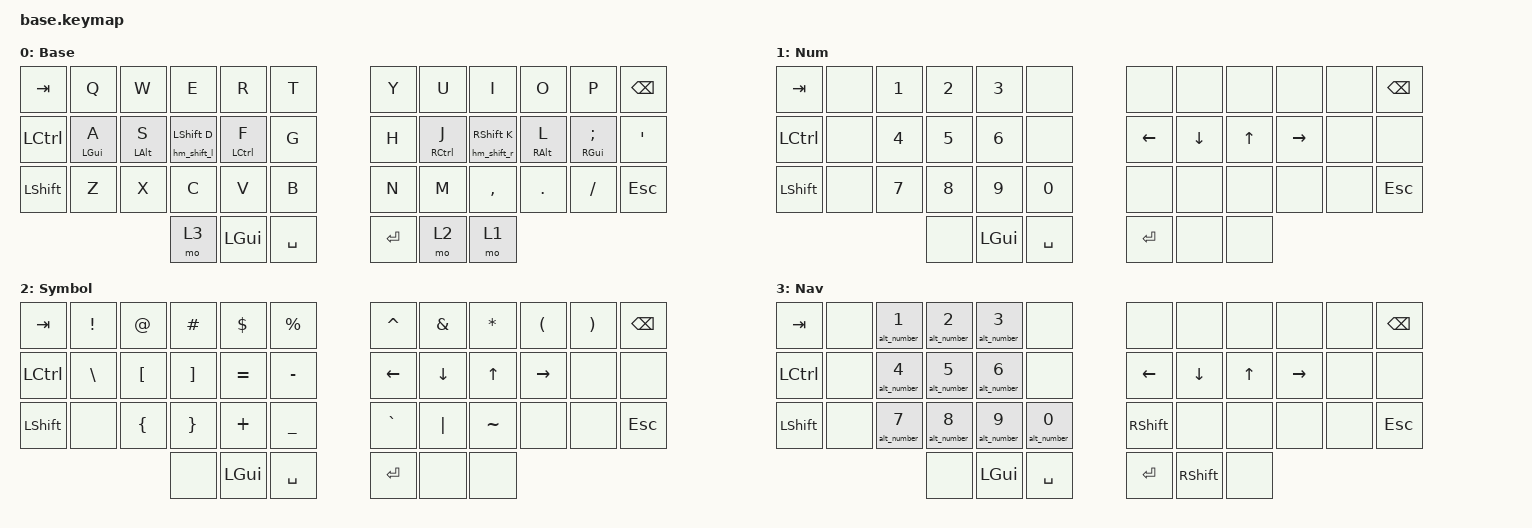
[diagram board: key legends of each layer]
/*
 * Copyright (c) 2020 The ZMK Contributors
 *
 * SPDX-License-Identifier: MIT
 */

// define layer numbers
#define BASE 0
#define NUM 1
#define SYM 2
#define NAV 3

// zmk includes
#include <behaviors.dtsi>
#include <dt-bindings/zmk/keys.h>
#include <dt-bindings/zmk/bt.h>

// personal includes
#include "includes/homerow_mods.dtsi"
#include "includes/nav_macros.dtsi"
#include "includes/nav_combos.dtsi"
#include "includes/nav_mod_morph.dtsi"

/ {
  keymap {
    compatible = "zmk,keymap";

    base_layer {
      display-name = "Base";
      bindings = <
// ╭────────────────────────┬────────────────────────┬────────────────────────┬────────────────────────┬────────────────────────┬────────────────────────╮    ╭────────────────────────┬────────────────────────┬────────────────────────┬───────────────────────┬────────────────────────┬────────────────────────╮
     &kp TAB                  &kp Q                    &kp W                    &kp E                    &kp R                    &kp T                         &kp Y                    &kp U                    &kp I                    &kp O                   &kp P                    &kp BSPC
// ├────────────────────────┼────────────────────────┼────────────────────────┼────────────────────────┼────────────────────────┼────────────────────────┤    ├────────────────────────┼────────────────────────┼────────────────────────┼───────────────────────┼────────────────────────┼────────────────────────┤
     &kp LCTRL                &hm_l LGUI A             &hm_l LALT S             &hm_shift_l LSHFT D      &hm_l LCTRL F            &kp G                         &kp H                    &hm_r RCTRL J            &hm_shift_r RSHFT K      &hm_r RALT L            &hm_r RGUI SEMI          &kp SQT
// ├────────────────────────┼────────────────────────┼────────────────────────┼────────────────────────┼────────────────────────┼────────────────────────┤    ├────────────────────────┼────────────────────────┼────────────────────────┼───────────────────────┼────────────────────────┼────────────────────────┤
     &kp LSHFT                &kp Z                    &kp X                    &kp C                    &kp V                    &kp B                         &kp N                    &kp M                    &kp COMMA                &kp DOT                 &kp FSLH                 &kp ESC
// ╰────────────────────────┴────────────────────────┴────────────────────────┴────────────────────────┼────────────────────────┼────────────────────────┤    ├────────────────────────┼────────────────────────┼────────────────────────┼───────────────────────┼────────────────────────┼────────────────────────╯
                                                                                &mo 3                    &kp LGUI                 &kp SPACE                     &kp RET                  &mo 2                    &mo 1
//                                                                            ╰────────────────────────┴────────────────────────┴────────────────────────╯    ╰────────────────────────┴────────────────────────┴────────────────────────╯
      >;
    };
    num_layer {
      display-name = "Num";
      bindings = <
// ╭────────────────────────┬────────────────────────┬────────────────────────┬────────────────────────┬────────────────────────┬────────────────────────╮    ╭────────────────────────┬────────────────────────┬────────────────────────┬───────────────────────┬────────────────────────┬────────────────────────╮
     &kp TAB                  &none                    &kp N1                   &kp N2                   &kp N3                   &none                         &none                    &none                    &none                    &none                   &none                    &kp BSPC
// ├────────────────────────┼────────────────────────┼────────────────────────┼────────────────────────┼────────────────────────┼────────────────────────┤    ├────────────────────────┼────────────────────────┼────────────────────────┼───────────────────────┼────────────────────────┼────────────────────────┤
     &kp LCTRL                &none                    &kp N4                   &kp N5                   &kp N6                   &none                         &kp LEFT                 &kp DOWN                 &kp UP                   &kp RIGHT               &none                    &none
// ├────────────────────────┼────────────────────────┼────────────────────────┼────────────────────────┼────────────────────────┼────────────────────────┤    ├────────────────────────┼────────────────────────┼────────────────────────┼───────────────────────┼────────────────────────┼────────────────────────┤
     &kp LSHFT                &none                    &kp N7                   &kp N8                   &kp N9                   &kp N0                        &none                    &none                    &none                    &none                   &none                    &kp ESC
// ╰────────────────────────┴────────────────────────┴────────────────────────┴────────────────────────┼────────────────────────┼────────────────────────┤    ├────────────────────────┼────────────────────────┼────────────────────────┼───────────────────────┼────────────────────────┼────────────────────────╯
                                                                                &none                    &kp LGUI                 &kp SPACE                     &kp RET                  &none                    &none
//                                                                            ╰────────────────────────┴────────────────────────┴────────────────────────╯    ╰────────────────────────┴────────────────────────┴────────────────────────╯
      >;
    };
    sym_layer {
      display-name = "Symbol";
      bindings = <
// ╭────────────────────────┬────────────────────────┬────────────────────────┬────────────────────────┬────────────────────────┬────────────────────────╮    ╭────────────────────────┬────────────────────────┬────────────────────────┬───────────────────────┬────────────────────────┬────────────────────────╮
     &kp TAB                  &kp EXCL                 &kp AT                   &kp HASH                 &kp DLLR                 &kp PRCNT                     &kp CARET                &kp AMPS                 &kp ASTRK                &kp LPAR                &kp RPAR                 &kp BSPC
// ├────────────────────────┼────────────────────────┼────────────────────────┼────────────────────────┼────────────────────────┼────────────────────────┤    ├────────────────────────┼────────────────────────┼────────────────────────┼───────────────────────┼────────────────────────┼────────────────────────┤
     &kp LCTRL                &kp BSLH                 &kp LBKT                 &kp RBKT                 &kp EQUAL                &kp MINUS                     &kp LEFT                 &kp DOWN                 &kp UP                   &kp RIGHT               &none                    &none
// ├────────────────────────┼────────────────────────┼────────────────────────┼────────────────────────┼────────────────────────┼────────────────────────┤    ├────────────────────────┼────────────────────────┼────────────────────────┼───────────────────────┼────────────────────────┼────────────────────────┤
     &kp LSHFT                &none                    &kp LBRC                 &kp RBRC                 &kp PLUS                 &kp UNDER                     &kp GRAVE                &kp PIPE                 &kp TILDE                &none                   &none                    &kp ESC
// ╰────────────────────────┴────────────────────────┴────────────────────────┴────────────────────────┼────────────────────────┼────────────────────────┤    ├────────────────────────┼────────────────────────┼────────────────────────┼───────────────────────┼────────────────────────┼────────────────────────╯
                                                                                &none                    &kp LGUI                 &kp SPACE                     &kp RET                  &none                    &none
//                                                                            ╰────────────────────────┴────────────────────────┴────────────────────────╯    ╰────────────────────────┴────────────────────────┴────────────────────────╯
      >;
    };
    nav_layer {
      display-name = "Nav";
      bindings = <
// ╭────────────────────────┬────────────────────────┬────────────────────────┬────────────────────────┬────────────────────────┬────────────────────────╮    ╭────────────────────────┬────────────────────────┬────────────────────────┬───────────────────────┬────────────────────────┬────────────────────────╮
     &kp TAB                  &none                    &alt_number N1           &alt_number N2           &alt_number N3           &none                         &none                    &none                    &none                    &none                   &none                    &kp BSPC
// ├────────────────────────┼────────────────────────┼────────────────────────┼────────────────────────┼────────────────────────┼────────────────────────┤    ├────────────────────────┼────────────────────────┼────────────────────────┼───────────────────────┼────────────────────────┼────────────────────────┤
     &kp LCTRL                &none                    &alt_number N4           &alt_number N5           &alt_number N6           &none                         &kp LEFT                 &kp DOWN                 &kp UP                   &kp RIGHT               &none                    &none
// ├────────────────────────┼────────────────────────┼────────────────────────┼────────────────────────┼────────────────────────┼────────────────────────┤    ├────────────────────────┼────────────────────────┼────────────────────────┼───────────────────────┼────────────────────────┼────────────────────────┤
     &kp LSHFT                &none                    &alt_number N7           &alt_number N8           &alt_number N9           &alt_number N0                &kp RSHFT                &none                    &none                    &none                   &none                    &kp ESC
// ╰────────────────────────┴────────────────────────┴────────────────────────┴────────────────────────┼────────────────────────┼────────────────────────┤    ├────────────────────────┼────────────────────────┼────────────────────────┼───────────────────────┼────────────────────────┼────────────────────────╯
                                                                                &none                    &kp LGUI                 &kp SPACE                     &kp RET                  &kp RSHFT                &none
//                                                                            ╰────────────────────────┴────────────────────────┴────────────────────────╯    ╰────────────────────────┴────────────────────────┴────────────────────────╯
      >;
    };
  };
};
